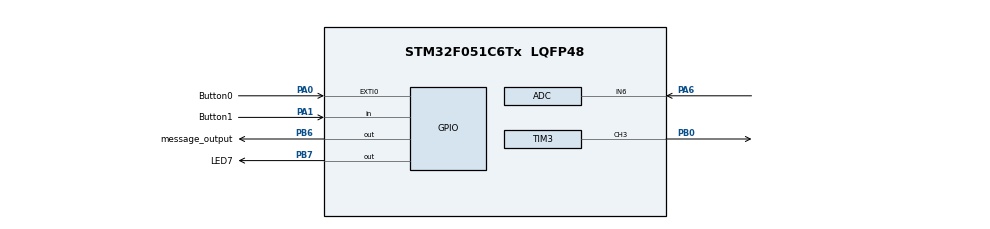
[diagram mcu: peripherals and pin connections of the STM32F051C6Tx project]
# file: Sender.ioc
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ADC.Resolution=ADC_RESOLUTION_12B
Mcu.Family=STM32F0
Mcu.Name=STM32F051C6Tx
Mcu.Package=LQFP48
PA0.GPIO_Label=Button0
PA0.GPIO_PuPd=GPIO_PULLUP
PA0.Signal=GPXTI0
PA1.GPIO_Label=Button1
PA1.Signal=GPIO_Input
PA13.Mode=Serial_Wire
PA13.Signal=SYS_SWDIO
PA14.Mode=Serial_Wire
PA14.Signal=SYS_SWCLK
PA6.Mode=IN6
PA6.Signal=ADC_IN6
PB0.Signal=S_TIM3_CH3
PB6.GPIO_Label=message_output
PB6.Signal=GPIO_Output
PB7.GPIO_Label=LED7
PB7.Signal=GPIO_Output
PF0-OSC_IN.Mode=HSE-External-Oscillator
PF0-OSC_IN.Signal=RCC_OSC_IN
PF1-OSC_OUT.Mode=HSE-External-Oscillator
PF1-OSC_OUT.Signal=RCC_OSC_OUT
ProjectManager.HeapSize=0x200
ProjectManager.StackSize=0x400
ProjectManager.TargetToolchain=STM32CubeIDE
SH.S_TIM3_CH3.0=TIM3_CH3,PWM Generation3 CH3
TIM3.Channel-PWM\ Generation3\ CH3=TIM_CHANNEL_3
TIM3.Period=47999
VP_TIM3_VS_ClockSourceINT.Mode=Internal
board=custom

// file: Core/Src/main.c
/* USER CODE BEGIN Header */
/**
  ******************************************************************************
  * @file           : main.c
  * @brief          : Main program body
  ******************************************************************************
  * @attention
  *
  * Copyright (c) 2023 STMicroelectronics.
  * All rights reserved.
  *
  *Sender Code for EEE3095S  Light of things project - 2023
 *
 * Group Members:
 * Tumi Mokoka (MKKBOI005)
 * Matome Mbowene (MBWMAT002)
 * Cassandra Wallace (WLLCAS004)
  *
  ******************************************************************************
  */
/* USER CODE END Header */
#include "main.h"

/* USER CODE BEGIN Includes */
#include <stdio.h>
#include "stm32f0xx.h"
#include <lcd_stm32f0.c>
/* USER CODE END Includes */

ADC_HandleTypeDef hadc;
TIM_HandleTypeDef htim3;

/* USER CODE BEGIN PV */
uint32_t prev_millis = 0;
uint32_t curr_millis = 0;
uint32_t delay_t = 500; // Initialise delay to 500ms
uint32_t message_delay = 50000; //delay used when sending message
uint32_t adc_val;
uint32_t checkpoint_count;
/* USER CODE END PV */

void SystemClock_Config(void);
static void MX_GPIO_Init(void);
static void MX_ADC_Init(void);
static void MX_TIM3_Init(void);

/* USER CODE BEGIN 0 */
void EXTI0_1_IRQHandler(void);
void EXTI2_3_IRQHandler(void);
void writeLCD(char *char_in);
uint32_t pollADC(void);
uint32_t ADCtoCCR(uint32_t adc_val);
/* USER CODE END 0 */

int main(void)
{

  /* MCU Configuration--------------------------------------------------------*/

  /* Reset of all peripherals, Initializes the Flash interface and the Systick. */
  HAL_Init();

  /* Configure the system clock */
  SystemClock_Config();

  /* Initialize all configured peripherals */
  MX_GPIO_Init();
  MX_ADC_Init();
  MX_TIM3_Init();
  /* USER CODE BEGIN 2 */

  init_LCD();

  /* USER CODE END 2 */

  /* Infinite loop */
  while (1)
  {

    /* USER CODE BEGIN 3 */
	  // ADC to LCD --> Reads the ADC value
	  adc_val = pollADC();
	  char adcValueStr[32]; // Assuming the maximum string length needed
	  sprintf(adcValueStr, "%lu", adc_val); // Convert uint32_t to string

	  // Display the ADC value on the LCD
	  writeLCD(adcValueStr);// Pass the string to writeLCD

	  HAL_Delay(delay_t);
  }
  /* USER CODE END 3 */
}

void SystemClock_Config(void)
{
  LL_FLASH_SetLatency(LL_FLASH_LATENCY_0);
  while(LL_FLASH_GetLatency() != LL_FLASH_LATENCY_0)
  {
  }
  LL_RCC_HSI_Enable();

   /* Wait till HSI is ready */
  while(LL_RCC_HSI_IsReady() != 1)
  {

  }
  LL_RCC_HSI_SetCalibTrimming(16);
  LL_RCC_HSI14_Enable();

   /* Wait till HSI14 is ready */
  while(LL_RCC_HSI14_IsReady() != 1)
  {

  }
  LL_RCC_HSI14_SetCalibTrimming(16);
  LL_RCC_SetAHBPrescaler(LL_RCC_SYSCLK_DIV_1);
  LL_RCC_SetAPB1Prescaler(LL_RCC_APB1_DIV_1);
  LL_RCC_SetSysClkSource(LL_RCC_SYS_CLKSOURCE_HSI);

   /* Wait till System clock is ready */
  while(LL_RCC_GetSysClkSource() != LL_RCC_SYS_CLKSOURCE_STATUS_HSI)
  {

  }
  LL_SetSystemCoreClock(8000000);

   /* Update the time base */
  if (HAL_InitTick (TICK_INT_PRIORITY) != HAL_OK)
  {
    Error_Handler();
  }
  LL_RCC_HSI14_EnableADCControl();
}

static void MX_ADC_Init(void)
{

  ADC_ChannelConfTypeDef sConfig = {0};

  /** Configure the global features of the ADC (Clock, Resolution, Data Alignment and number of conversion)
  */
  hadc.Instance = ADC1;
  hadc.Init.ClockPrescaler = ADC_CLOCK_ASYNC_DIV1;
  hadc.Init.Resolution = ADC_RESOLUTION_12B;
  hadc.Init.DataAlign = ADC_DATAALIGN_RIGHT;
  hadc.Init.ScanConvMode = ADC_SCAN_DIRECTION_FORWARD;
  hadc.Init.EOCSelection = ADC_EOC_SINGLE_CONV;
  hadc.Init.LowPowerAutoWait = DISABLE;
  hadc.Init.LowPowerAutoPowerOff = DISABLE;
  hadc.Init.ContinuousConvMode = DISABLE;
  hadc.Init.DiscontinuousConvMode = DISABLE;
  hadc.Init.ExternalTrigConv = ADC_SOFTWARE_START;
  hadc.Init.ExternalTrigConvEdge = ADC_EXTERNALTRIGCONVEDGE_NONE;
  hadc.Init.DMAContinuousRequests = DISABLE;
  hadc.Init.Overrun = ADC_OVR_DATA_PRESERVED;
  if (HAL_ADC_Init(&hadc) != HAL_OK)
  {
    Error_Handler();
  }

  /** Configure for the selected ADC regular channel to be converted.
  */
  sConfig.Channel = ADC_CHANNEL_6;
  sConfig.Rank = ADC_RANK_CHANNEL_NUMBER;
  sConfig.SamplingTime = ADC_SAMPLETIME_1CYCLE_5;
  if (HAL_ADC_ConfigChannel(&hadc, &sConfig) != HAL_OK)
  {
    Error_Handler();
  }
  /* USER CODE BEGIN ADC_Init 2 */
  ADC1->CR |= ADC_CR_ADCAL;
  while(ADC1->CR & ADC_CR_ADCAL);			// Calibrate the ADC
  ADC1->CR |= (1 << 0);						// Enable ADC
  while((ADC1->ISR & (1 << 0)) == 0);		// Wait for ADC ready
  /* USER CODE END ADC_Init 2 */

}

static void MX_TIM3_Init(void)
{

  TIM_ClockConfigTypeDef sClockSourceConfig = {0};
  TIM_MasterConfigTypeDef sMasterConfig = {0};
  TIM_OC_InitTypeDef sConfigOC = {0};

  htim3.Instance = TIM3;
  htim3.Init.Prescaler = 0;
  htim3.Init.CounterMode = TIM_COUNTERMODE_UP;
  htim3.Init.Period = 47999;
  htim3.Init.ClockDivision = TIM_CLOCKDIVISION_DIV1;
  htim3.Init.AutoReloadPreload = TIM_AUTORELOAD_PRELOAD_DISABLE;
  if (HAL_TIM_Base_Init(&htim3) != HAL_OK)
  {
    Error_Handler();
  }
  sClockSourceConfig.ClockSource = TIM_CLOCKSOURCE_INTERNAL;
  if (HAL_TIM_ConfigClockSource(&htim3, &sClockSourceConfig) != HAL_OK)
  {
    Error_Handler();
  }
  if (HAL_TIM_PWM_Init(&htim3) != HAL_OK)
  {
    Error_Handler();
  }
  sMasterConfig.MasterOutputTrigger = TIM_TRGO_RESET;
  sMasterConfig.MasterSlaveMode = TIM_MASTERSLAVEMODE_DISABLE;
  if (HAL_TIMEx_MasterConfigSynchronization(&htim3, &sMasterConfig) != HAL_OK)
  {
    Error_Handler();
  }
  sConfigOC.OCMode = TIM_OCMODE_PWM1;
  sConfigOC.Pulse = 0;
  sConfigOC.OCPolarity = TIM_OCPOLARITY_HIGH;
  sConfigOC.OCFastMode = TIM_OCFAST_DISABLE;
  if (HAL_TIM_PWM_ConfigChannel(&htim3, &sConfigOC, TIM_CHANNEL_3) != HAL_OK)
  {
    Error_Handler();
  }
  HAL_TIM_MspPostInit(&htim3);

}

static void MX_GPIO_Init(void)
{
  LL_EXTI_InitTypeDef EXTI_InitStruct = {0};
  LL_GPIO_InitTypeDef GPIO_InitStruct = {0};

  /* GPIO Ports Clock Enable */
  LL_AHB1_GRP1_EnableClock(LL_AHB1_GRP1_PERIPH_GPIOF);
  LL_AHB1_GRP1_EnableClock(LL_AHB1_GRP1_PERIPH_GPIOA);
  LL_AHB1_GRP1_EnableClock(LL_AHB1_GRP1_PERIPH_GPIOB);

  /**/
  LL_GPIO_ResetOutputPin(message_output_GPIO_Port, message_output_Pin);

  /**/
  LL_GPIO_ResetOutputPin(LED7_GPIO_Port, LED7_Pin);

  /**/
  LL_SYSCFG_SetEXTISource(LL_SYSCFG_EXTI_PORTA, LL_SYSCFG_EXTI_LINE0);

  /**/
  LL_GPIO_SetPinPull(Button0_GPIO_Port, Button0_Pin, LL_GPIO_PULL_UP);

  /**/
  LL_GPIO_SetPinMode(Button0_GPIO_Port, Button0_Pin, LL_GPIO_MODE_INPUT);

  /**/
  EXTI_InitStruct.Line_0_31 = LL_EXTI_LINE_0;
  EXTI_InitStruct.LineCommand = ENABLE;
  EXTI_InitStruct.Mode = LL_EXTI_MODE_IT;
  EXTI_InitStruct.Trigger = LL_EXTI_TRIGGER_RISING;
  LL_EXTI_Init(&EXTI_InitStruct);

  /**/
  GPIO_InitStruct.Pin = Button1_Pin;
  GPIO_InitStruct.Mode = LL_GPIO_MODE_INPUT;
  GPIO_InitStruct.Pull = LL_GPIO_PULL_NO;
  LL_GPIO_Init(Button1_GPIO_Port, &GPIO_InitStruct);

  /**/
  GPIO_InitStruct.Pin = message_output_Pin;
  GPIO_InitStruct.Mode = LL_GPIO_MODE_OUTPUT;
  GPIO_InitStruct.Speed = LL_GPIO_SPEED_FREQ_LOW;
  GPIO_InitStruct.OutputType = LL_GPIO_OUTPUT_PUSHPULL;
  GPIO_InitStruct.Pull = LL_GPIO_PULL_NO;
  LL_GPIO_Init(message_output_GPIO_Port, &GPIO_InitStruct);

  /**/
  GPIO_InitStruct.Pin = LED7_Pin;
  GPIO_InitStruct.Mode = LL_GPIO_MODE_OUTPUT;
  GPIO_InitStruct.Speed = LL_GPIO_SPEED_FREQ_LOW;
  GPIO_InitStruct.OutputType = LL_GPIO_OUTPUT_PUSHPULL;
  GPIO_InitStruct.Pull = LL_GPIO_PULL_NO;
  LL_GPIO_Init(LED7_GPIO_Port, &GPIO_InitStruct);

/* USER CODE BEGIN MX_GPIO_Init_2 */
  HAL_NVIC_SetPriority(EXTI0_1_IRQn, 0, 0);
  HAL_NVIC_EnableIRQ(EXTI0_1_IRQn);
  HAL_NVIC_SetPriority(EXTI2_3_IRQn, 0, 0);
  HAL_NVIC_EnableIRQ(EXTI2_3_IRQn);
/* USER CODE END MX_GPIO_Init_2 */
}

/* USER CODE BEGIN 4 */

//Pushbutton 2 code for checkpoint message
void EXTI2_3_IRQHandler(void)
{

	HAL_GPIO_TogglePin(GPIOB, LED7_Pin);

	curr_millis = HAL_GetTick();
	if(curr_millis - prev_millis >= 500)
	{
		writeLCD("CHECKPOINT ...");
	}
}

/*Pushbutton 1 code --> sample ADC value and send out*/
void EXTI0_1_IRQHandler(void)
{
	//debouncing condition --> greater than 50 ms
	curr_millis = HAL_GetTick();
	if(curr_millis - prev_millis >= 500)
	{

	writeLCD("MESSAGE ...");
	uint32_t parity = 0;

	/*Start-of-Text bit --> LED on for 1 second*/
	HAL_GPIO_WritePin(GPIOB, message_output_Pin, GPIO_PIN_SET);
	delay (100000);

	/*Message Identifier Bit --> LED off for 1 second*/
	HAL_GPIO_WritePin(GPIOB, message_output_Pin, GPIO_PIN_RESET);
	delay(100000);

	/*
	 * binary value converted bit-by-bit
	 * each time written to output voltage line --> PB6
	 */

	for (int i =11; i>=0; --i)

	{
		/*computing single bit*/
		uint32_t mask = (uint32_t)(1) << i;
		uint32_t masked_n = adc_val & mask;
		uint32_t bit = masked_n >> i;

		parity += bit; //counting number of 1s in the string

		 /*uncomment below if you would like to display each bit on the LCD too*/

		/*
		 * char bitstr[1];
		 * sprintf(bitstr, "%lu", bit);
		 * writeLCD(bitstr);
		 */

		if(bit == 0)
		{
			//Voltage Low
			HAL_GPIO_WritePin(GPIOB, message_output_Pin, GPIO_PIN_RESET);
		}

		else
		{
			//Voltage High
			HAL_GPIO_WritePin(GPIOB, message_output_Pin, GPIO_PIN_SET);
		}

		delay(message_delay);
	}

	//LED turns on for 1 second if there are an even number of digits
	  if (parity % 2 == 0)
	  {
		  HAL_GPIO_WritePin(GPIOB, message_output_Pin, GPIO_PIN_SET);
	  }
	  else
	  {
		  HAL_GPIO_WritePin(GPIOB, message_output_Pin, GPIO_PIN_RESET);
	  }
	  delay(100000);

	  /*stop/end of text bit --> LED flashes at 100 millisecond intervals for 1 second*/
	  for(int i=0; i<10; ++i)
	  {
		  HAL_GPIO_TogglePin(GPIOB, message_output_Pin);
		  delay(10000);
	  }

	  checkpoint_count ++;

	  /*END OF DEBOUNCING CONDITION*/
	  	}
	  //turns LED off
	  HAL_GPIO_WritePin(GPIOB, message_output_Pin, GPIO_PIN_RESET);
	  prev_millis = curr_millis;

	  // Clear the EXTI line 0 pending bit
		__HAL_GPIO_EXTI_CLEAR_IT(GPIO_PIN_0);
}

// writeLCD function
void writeLCD(char *char_in){
    delay(3000);
	lcd_command(CLEAR);
	lcd_putstring(char_in);
}

uint32_t pollADC(void){ // Get ADC value

  // Start the ADC conversion
	  HAL_ADC_Start(&hadc);

 // Poll for the conversion to finish
	  HAL_ADC_PollForConversion(&hadc, HAL_MAX_DELAY);

	  // Get the ADC value
	  uint32_t val = HAL_ADC_GetValue(&hadc);

  // Stop the ADC conversion
	  HAL_ADC_Stop(&hadc);

   // Return the ADC value

	return val;
}

void ADC1_COMP_IRQHandler(void)
{
	adc_val = HAL_ADC_GetValue(&hadc); // read adc value
	HAL_ADC_IRQHandler(&hadc); //Clear flags
}

/* USER CODE END 4 */

void Error_Handler(void)
{
  __disable_irq();
  while (1)
  {
  }
}
